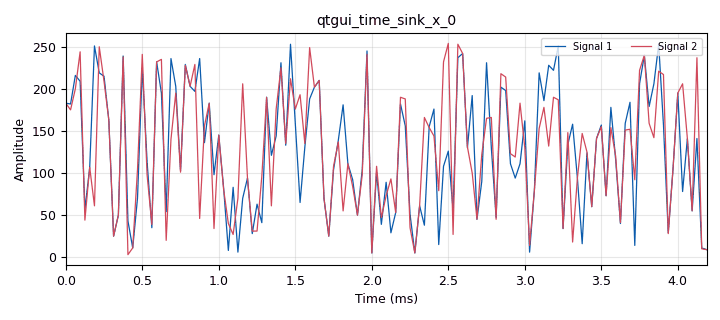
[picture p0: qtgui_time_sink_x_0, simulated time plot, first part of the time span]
options:
  parameters:
    generate_options: qt_gui
    id: byte_rf_sim
    output_language: python
    title: Not titled yet
  states: {}

blocks:
- name: samp_rate
  id: variable
  parameters:
    value: '32000'
  states: {}
- name: analog_noise_source_x_0
  id: analog_noise_source_x
  parameters:
    amp: '1'
    noise_type: analog.GR_GAUSSIAN
    seed: '0'
    type: float
  states: {}
- name: analog_random_source_x_0
  id: analog_random_source_x
  parameters:
    max: '255'
    min: '0'
    num_samps: '1000'
    repeat: 'True'
    type: byte
  states: {}
- name: blocks_add_xx_0
  id: blocks_add_xx
  parameters:
    type: float
  states: {}
- name: blocks_char_to_float_0
  id: blocks_char_to_float
  parameters:
    scale: '1'
  states: {}
- name: blocks_delay_0
  id: blocks_delay
  parameters:
    delay: '0'
    type: byte
  states: {}
- name: blocks_null_sink_0
  id: blocks_null_sink
  parameters:
    type: byte
  states: {}
- name: blocks_pack_k_bits_bb_0
  id: blocks_pack_k_bits_bb
  parameters:
    k: '8'
  states: {}
- name: blocks_packed_to_unpacked_xx_0
  id: blocks_packed_to_unpacked_xx
  parameters:
    bits_per_chunk: '1'
    endianness: gr.GR_MSB_FIRST
    type: byte
  states: {}
- name: blocks_throttle2_0
  id: blocks_throttle2
  parameters:
    samples_per_second: samp_rate
    type: byte
  states: {}
- name: blocks_uchar_to_float_0
  id: blocks_uchar_to_float
  parameters: {}
  states: {}
- name: blocks_uchar_to_float_0_0
  id: blocks_uchar_to_float
  parameters: {}
  states: {}
- name: digital_binary_slicer_fb_0
  id: digital_binary_slicer_fb
  parameters: {}
  states: {}
- name: digital_map_bb_0
  id: digital_map_bb
  parameters:
    comment: Look-Up Table I
    map: (-1,1)
  states: {}
- name: qtgui_time_sink_x_0
  id: qtgui_time_sink_x
  parameters:
    autoscale: 'True'
    ctrlpanel: 'True'
    nconnections: '2'
    size: '1024'
    srate: samp_rate
    type: float
  states: {}

connections:
- [analog_noise_source_x_0, '0', blocks_add_xx_0, '1']
- [analog_random_source_x_0, '0', blocks_packed_to_unpacked_xx_0, '0']
- [analog_random_source_x_0, '0', blocks_uchar_to_float_0_0, '0']
- [blocks_add_xx_0, '0', digital_binary_slicer_fb_0, '0']
- [blocks_char_to_float_0, '0', blocks_add_xx_0, '0']
- [blocks_delay_0, '0', blocks_null_sink_0, '0']
- [blocks_pack_k_bits_bb_0, '0', blocks_delay_0, '0']
- [blocks_pack_k_bits_bb_0, '0', blocks_uchar_to_float_0, '0']
- [blocks_packed_to_unpacked_xx_0, '0', blocks_throttle2_0, '0']
- [blocks_throttle2_0, '0', digital_map_bb_0, '0']
- [blocks_uchar_to_float_0, '0', qtgui_time_sink_x_0, '1']
- [blocks_uchar_to_float_0_0, '0', qtgui_time_sink_x_0, '0']
- [digital_binary_slicer_fb_0, '0', blocks_pack_k_bits_bb_0, '0']
- [digital_map_bb_0, '0', blocks_char_to_float_0, '0']

metadata:
  file_format: 1
  grc_version: 3.10.9.2
